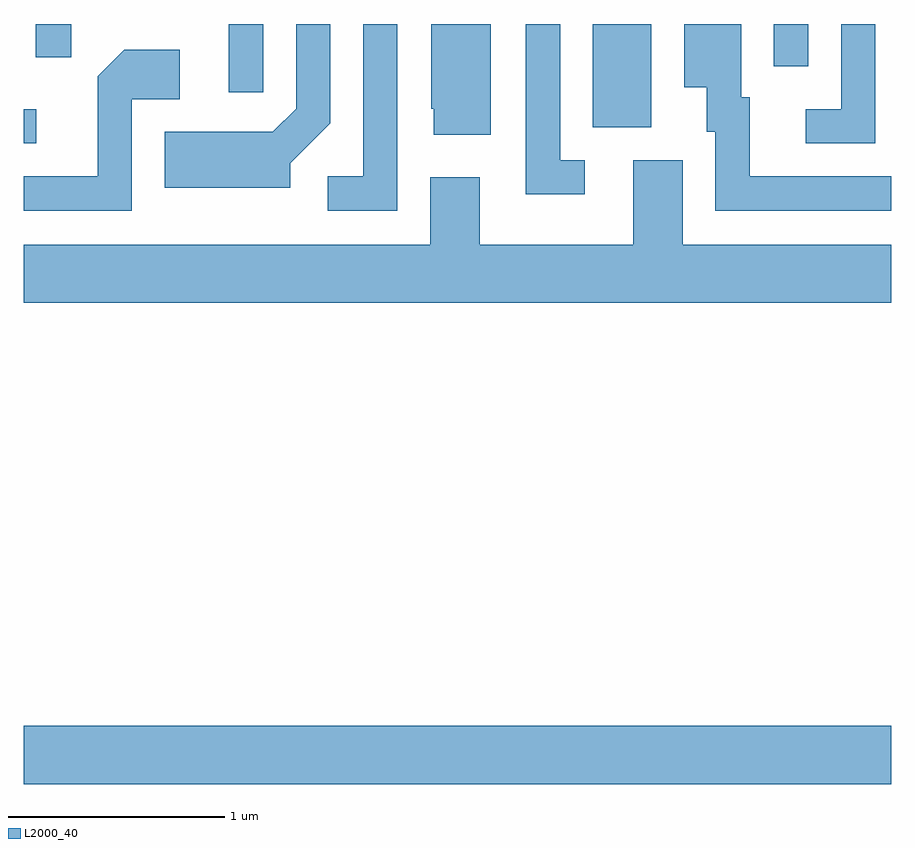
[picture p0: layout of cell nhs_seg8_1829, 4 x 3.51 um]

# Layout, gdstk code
import gdstk
lib = gdstk.Library(unit=1e-6, precision=1e-09)
def R(c, l, rs):  # rectangles x0, y0, x1, y1
    for r in rs: c.add(gdstk.rectangle(r[:2], r[2:], *l))
def P(c, l, *ps):  # polygons
    for p in ps: c.add(gdstk.Polygon(p, *l))
L2000_40 = (2000, 40)

nhs_seg8_1829 = lib.new_cell('nhs_seg8_1829')
R(nhs_seg8_1829, L2000_40, [(239.611,1860.836,243.611,1861.104), (239.611,1863.791,239.668,1863.949), (242.236,1863.866,242.504,1864.342), (240.556,1864.028,240.714,1864.342), (243.071,1864.148,243.229,1864.342), (239.666,1864.188,239.829,1864.342)])
P(nhs_seg8_1829, L2000_40, [(241.334,1864.342),(241.176,1864.342),(241.176,1863.639),(241.013,1863.639),(241.013,1863.481),(241.334,1863.481)],
  [(243.611,1863.639),(242.959,1863.639),(242.959,1864.004),(242.919,1864.004),(242.919,1864.342),(242.656,1864.342),(242.656,1864.051),(242.761,1864.051),(242.761,1863.846),(242.801,1863.846),(242.801,1863.481),(243.611,1863.481)],
  [(243.539,1864.342),(243.381,1864.342),(243.381,1863.949),(243.218,1863.949),(243.218,1863.791),(243.539,1863.791)],
  [(241.764,1864.342),(241.491,1864.342),(241.491,1863.95),(241.501,1863.95),(241.501,1863.831),(241.764,1863.831)],
  [(242.198,1863.714),(242.084,1863.714),(242.084,1864.342),(241.926,1864.342),(241.926,1863.556),(242.198,1863.556)],
  [(240.839,1863.699),(241.024,1863.884),(241.024,1864.342),(240.866,1864.342),(240.866,1863.952),(240.759,1863.844),(240.261,1863.844),(240.261,1863.586),(240.839,1863.586)],
  [(240.109,1863.996),(240.329,1863.996),(240.329,1864.224),(240.074,1864.224),(239.951,1864.102),(239.951,1863.639),(239.611,1863.639),(239.611,1863.481),(240.109,1863.481)],
  [(243.611,1863.324),(242.649,1863.324),(242.649,1863.714),(242.421,1863.714),(242.421,1863.324),(241.714,1863.324),(241.714,1863.634),(241.486,1863.634),(241.486,1863.324),(239.611,1863.324),(239.611,1863.056),(243.611,1863.056)])

lib.write_gds('nhs_seg8_1829.gds')
